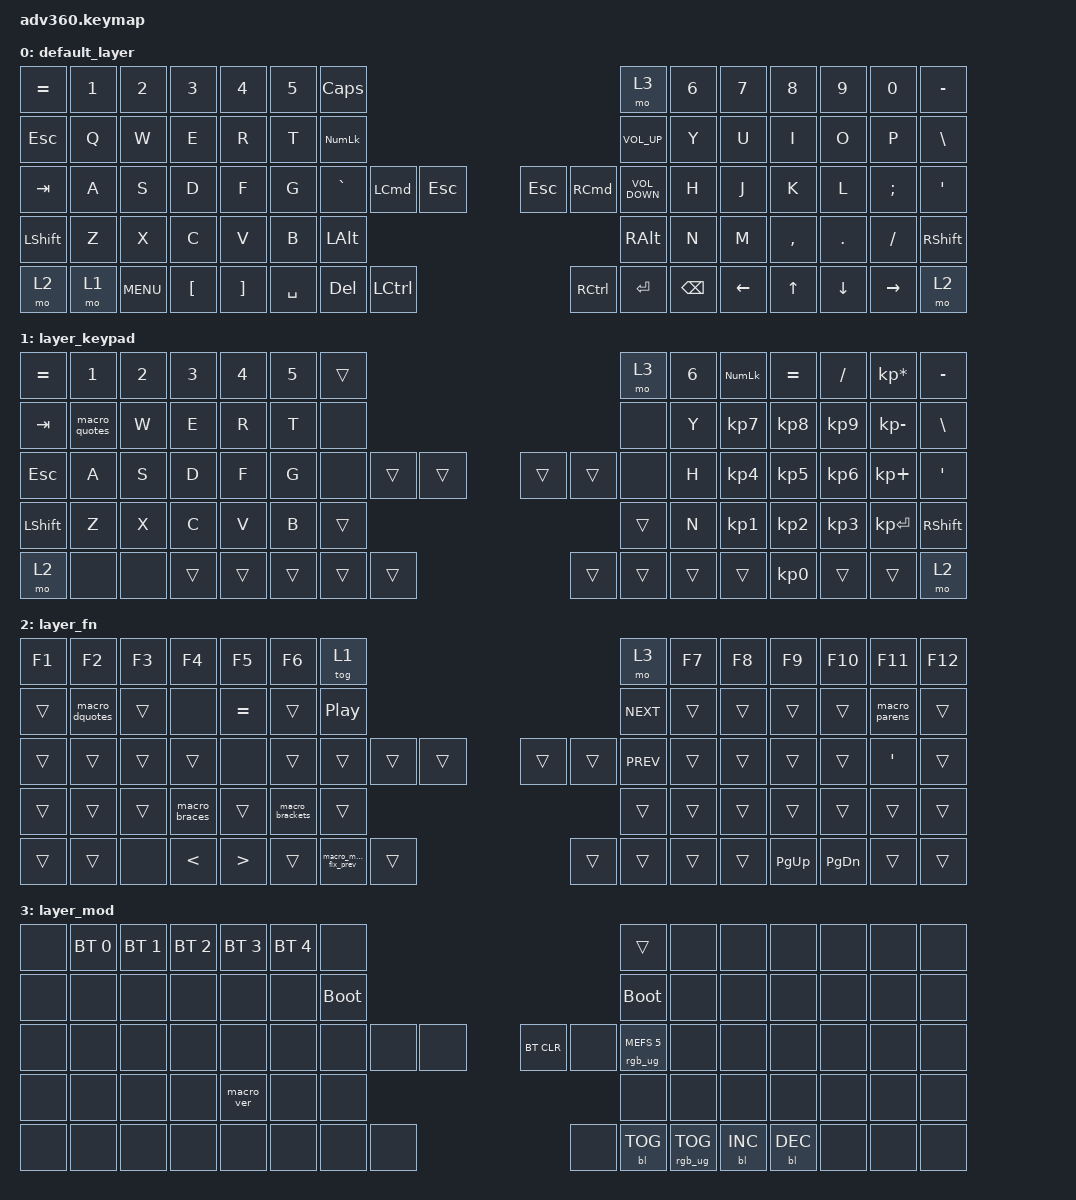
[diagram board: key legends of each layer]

/*
 * Copyright (c) 2020 The ZMK Contributors
 *
 * SPDX-License-Identifier: MIT
 */


/* THIS FILE WAS GENERATED!
 *
 * This file was generated automatically. You may or may not want to
 * edit it directly.
 */

#include <behaviors.dtsi>
#include <dt-bindings/zmk/keys.h>
#include <dt-bindings/zmk/bt.h>
#include <dt-bindings/zmk/rgb.h>
#include <dt-bindings/zmk/backlight.h>

/ {
  behaviors {
    #include "macros.dtsi"
    #include "version.dtsi"

    hm: homerow_mods {
        compatible = "zmk,behavior-hold-tap";
        label = "HOMEROW_MODS";
        #binding-cells = <2>;
        tapping-term-ms = <200>;
        quick_tap_ms = <175>;
        flavor = "tap-preferred";
        bindings = <&kp>, <&kp>;
    };
  };

    keymap {
        compatible = "zmk,keymap";


        default_layer {
            bindings = <
 &kp EQUAL  &kp N1      &kp N2    &kp N3    &kp N4  &kp N5                  &kp CAPS                                                                                                        &mo 3  &kp N6    &kp N7     &kp N8    &kp N9     &kp N0  &kp MINUS
   &kp ESC   &kp Q       &kp W     &kp E     &kp R   &kp T            &kp KP_NUMLOCK                                                                                              &kp C_VOLUME_UP   &kp Y     &kp U      &kp I     &kp O      &kp P   &kp BSLH
   &kp TAB   &kp A       &kp S     &kp D     &kp F   &kp G                 &kp GRAVE  &kp LEFT_COMMAND           &kp ESC                            &kp ESC  &kp RIGHT_COMMAND  &kp C_VOLUME_DOWN   &kp H     &kp J      &kp K     &kp L   &kp SEMI    &kp SQT
 &kp LSHFT   &kp Z       &kp X     &kp C     &kp V   &kp B                                                  &kp LEFT_ALT                      &kp RIGHT_ALT                                         &kp N     &kp M  &kp COMMA   &kp DOT   &kp FSLH  &kp RSHFT
     &mo 2   &mo 1  &kp C_MENU  &kp LBKT  &kp RBKT                         &kp SPACE           &kp DEL  &kp LEFT_CONTROL                  &kp RIGHT_CONTROL          &kp ENTER      &kp BACKSPACE          &kp LEFT     &kp UP  &kp DOWN  &kp RIGHT      &mo 2
            >;
        };

        layer_keypad {
            bindings = <
 &kp EQUAL         &kp N1  &kp N2  &kp N3  &kp N4  &kp N5            &trans                                                   &mo 3  &kp N6  &kp KP_NUM  &kp EQUAL  &kp SLASH  &kp KP_MULTIPLY  &kp MINUS
   &kp TAB  &macro_quotes   &kp W   &kp E   &kp R   &kp T             &none                                                   &none   &kp Y   &kp KP_N7  &kp KP_N8  &kp KP_N9     &kp KP_MINUS   &kp BSLH
   &kp ESC          &kp A   &kp S   &kp D   &kp F   &kp G             &none  &trans  &trans                  &trans  &trans   &none   &kp H   &kp KP_N4  &kp KP_N5  &kp KP_N6      &kp KP_PLUS    &kp SQT
 &kp LSHFT          &kp Z   &kp X   &kp C   &kp V   &kp B                            &trans                  &trans                   &kp N   &kp KP_N1  &kp KP_N2  &kp KP_N3     &kp KP_ENTER  &kp RSHFT
     &mo 2          &none   &none  &trans  &trans                    &trans  &trans  &trans                  &trans  &trans  &trans              &trans  &kp KP_N0     &trans           &trans      &mo 2
            >;
        };

        layer_fn {
            bindings = <
 &kp F1          &kp F2  &kp F3         &kp F4            &kp F5           &kp F6                      &tog 1                                                                      &mo 3  &kp F7  &kp F8       &kp F9        &kp F10        &kp F11  &kp F12
 &trans  &macro_dquotes  &trans          &none         &kp EQUAL           &trans            &kp C_PLAY_PAUSE                                                                 &kp C_NEXT  &trans  &trans       &trans         &trans  &macro_parens   &trans
 &trans          &trans  &trans         &trans             &none           &trans                      &trans                 &trans  &trans                  &trans  &trans  &kp C_PREV  &trans  &trans       &trans         &trans        &kp SQT   &trans
 &trans          &trans  &trans  &macro_braces            &trans  &macro_brackets                                                     &trans                  &trans                      &trans  &trans       &trans         &trans         &trans   &trans
 &trans          &trans   &none  &kp LESS_THAN  &kp GREATER_THAN                                       &trans  &macro_macro_fix_prev  &trans                  &trans  &trans      &trans          &trans  &kp PAGE_UP  &kp PAGE_DOWN         &trans   &trans
            >;
        };

        layer_mod {
            bindings = <
  &none  &bt BT_SEL 0  &bt BT_SEL 1  &bt BT_SEL 2  &bt BT_SEL 3  &bt BT_SEL 4                  &none                                                                          &trans   &none       &none       &none   &none   &none   &none
  &none         &none         &none         &none         &none         &none            &bootloader                                                                     &bootloader   &none       &none       &none   &none   &none   &none
  &none         &none         &none         &none         &none         &none                  &none   &none   &none                  &bt BT_CLR       &none  &rgb_ug RGB_MEFS_CMD 5   &none       &none       &none   &none   &none   &none
  &none         &none         &none         &none    &macro_ver         &none                                  &none                       &none                                       &none       &none       &none   &none   &none   &none
  &none         &none         &none         &none         &none                                &none   &none   &none                       &none  &bl BL_TOG         &rgb_ug RGB_TOG          &bl BL_INC  &bl BL_DEC   &none   &none   &none
            >;
        };

    };
};
